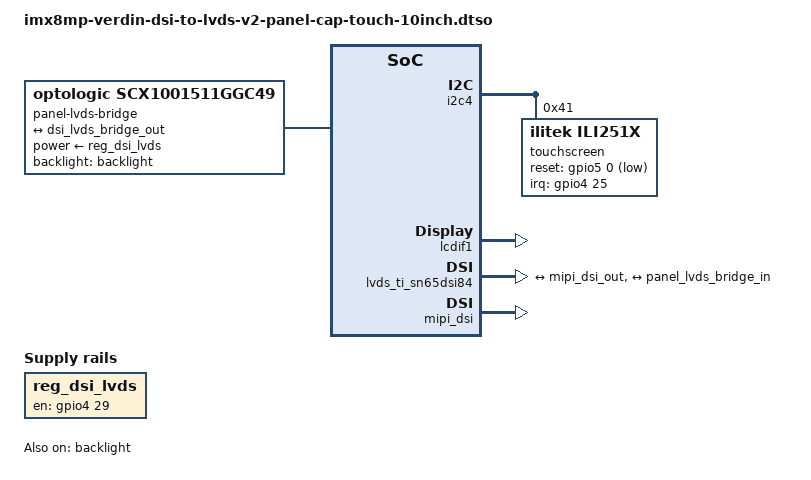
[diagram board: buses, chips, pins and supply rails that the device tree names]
// SPDX-License-Identifier: GPL-2.0-or-later OR MIT
/*
 * Copyright (c) Toradex
 *
 * Toradex DSI to LVDS Adapter on Verdin DSI_1 with Capacitive Touch Display
 * 10.1" V2, used on Dahlia (X17) and Development Board (X48) that expose DSI_1
 * via a Samtec LSS-130 connector.
 *
 * https://developer.toradex.com/hardware/accessories/displays/capacitive-touch-display-101inch-lvds
 * https://www.toradex.com/accessories/capacitive-touch-display-10.1-inch-lvds
 * https://developer.toradex.com/hardware/accessories/add-ons/dsi-lvds-adapter
 * https://www.toradex.com/accessories/verdin-dsi-to-lvds-adapter
 */

/dts-v1/;
/plugin/;

#include <dt-bindings/gpio/gpio.h>
#include <dt-bindings/interrupt-controller/irq.h>

&{/} {
	panel-lvds-bridge {
		compatible = "optologic,scx1001511ggc49", "panel-lvds";
		backlight = <&backlight>;
		data-mapping = "vesa-24";
		power-supply = <&reg_dsi_lvds>;
		height-mm = <136>;
		width-mm = <217>;

		panel-timing {
			clock-frequency = <70000000>;
			hactive = <1280>;
			hback-porch = <55>;
			hfront-porch = <55>;
			hsync-len = <45>;
			vactive = <800>;
			vback-porch = <5>;
			vfront-porch = <5>;
			vsync-len = <3>;
			de-active = <1>;
			hsync-active = <0>;
			vsync-active = <0>;
			pixelclk-active = <0>;
		};

		port {
			panel_lvds_bridge_in: endpoint {
				remote-endpoint = <&dsi_lvds_bridge_out>;
			};
		};
	};

	reg_dsi_lvds: regulator-dsi-lvds {
		compatible = "regulator-fixed";
		/* Verdin CTRL_SLEEP_MOCI# (SODIMM 256) */
		gpios = <&gpio4 29 GPIO_ACTIVE_HIGH>;
		enable-active-high;
		regulator-boot-on;
		regulator-name = "DSI_1_PWR_EN";
	};
};

&backlight {
	/* Verdin PWM_3_DSI (SODIMM 19) - PWM_3_DSI_LVDS */
	pwms = <&pwm3 0 6666667 0>;

	status = "okay";
};

&i2c4 {
	#address-cells = <1>;
	#size-cells = <0>;

	touchscreen@41 {
		compatible = "ilitek,ili251x";
		reg = <0x41>;
		pinctrl-names = "default";
		pinctrl-0 = <&pinctrl_gpio_9_dsi>,
			    <&pinctrl_i2s_2_bclk_touch_reset>;
		/* Verdin GPIO_9_DSI (SODIMM 17) - TOUCH_INT# */
		/* Rising edge avoids spurious interrupts from the noisy falling edge. */
		interrupt-parent = <&gpio4>;
		interrupts = <25 IRQ_TYPE_EDGE_RISING>;
		/* Verdin I2S_2_BCLK (SODIMM 42) - TOUCH_RESET# */
		reset-gpios = <&gpio5 0 GPIO_ACTIVE_LOW>;
	};
};

&lcdif1 {
	status = "okay";
};

&lvds_ti_sn65dsi84 {
	vcc-supply = <&reg_dsi_lvds>;

	status = "okay";

	ports {
		#address-cells = <1>;
		#size-cells = <0>;

		port@0 {
			reg = <0>;

			dsi_lvds_bridge_in: endpoint {
				data-lanes = <1 2 3 4>;
				remote-endpoint = <&mipi_dsi_out>;
			};
		};

		port@2 {
			reg = <2>;

			dsi_lvds_bridge_out: endpoint {
				remote-endpoint = <&panel_lvds_bridge_in>;
			};
		};
	};
};

&mipi_dsi {
	samsung,esc-clock-frequency = <16000000>;

	status = "okay";
};

&mipi_dsi_out {
	remote-endpoint = <&dsi_lvds_bridge_in>;
};
